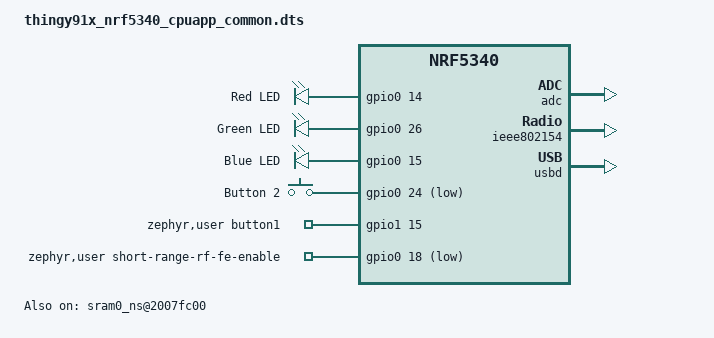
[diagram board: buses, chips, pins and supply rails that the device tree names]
/*
 * Copyright (c) 2024 Nordic Semiconductor
 * SPDX-License-Identifier: LicenseRef-Nordic-5-Clause
 */

#include "thingy91x_nrf5340_cpuapp_common-pinctrl.dtsi"
#include "thingy91x_common.dtsi"
/ {

	chosen {
		zephyr,console = &uart0;
		zephyr,shell-uart = &uart0;
		zephyr,uart-mcumgr = &uart0;
		zephyr,bt-mon-uart = &uart0;
		zephyr,bt-c2h-uart = &uart0;
		zephyr,bt-hci-ipc = &ipc0;
		nordic,802154-spinel-ipc = &ipc0;
		zephyr,ieee802154 = &ieee802154;
	};

	leds {
		compatible = "gpio-leds";
		led0: led_0 {
			gpios = <&gpio0 14 GPIO_ACTIVE_HIGH>;
			label = "Red LED";
		};
		led1: led_1 {
			gpios = <&gpio0 26 GPIO_ACTIVE_HIGH>;
			label = "Green LED";
		};
		led2: led_2 {
			gpios = <&gpio0 15 GPIO_ACTIVE_HIGH>;
			label = "Blue LED";
		};
	};

	buttons {
		compatible = "gpio-keys";
		button0: button_0 {
			gpios = <&gpio0 24 (GPIO_PULL_UP | GPIO_ACTIVE_LOW)>;
			label = "Button 2";
		};
	};

	zephyr,user {
		button1-gpios = <&gpio1 15 (GPIO_PULL_UP | GPIO_OPEN_DRAIN)>;
		short-range-rf-fe-enable-gpios = <&gpio0 18 GPIO_ACTIVE_LOW>;
	};

	gpio_fwd: nrf-gpio-forwarder {
		compatible = "nordic,nrf-gpio-forwarder";
		status = "okay";
		uart {
			gpios = <&gpio0 22 0>, /* nrf7002-coex req-gpios     */
				<&gpio0 23 0>, /* nrf7002-coex status0-gpios */
				<&gpio0 20 0>, /* nrf7002-coex grant-gpios   */
				<&gpio0 6 0>;  /* nrf7002-coex swctrl1-gpios */
		};
	};

	/* These aliases are provided for compatibility with samples */
	aliases {
		led0 = &led0;
		led1 = &led1;
		led2 = &led2;
		sw0 = &button0;
		bootloader-led0 = &led0;
		mcuboot-button0 = &button0;
		mcuboot-led0 = &led0;
		watchdog0 = &wdt0;
	};
};

&adc {
	status = "okay";
};

&gpiote {
	status = "okay";
};

&gpio0 {
	status = "okay";
};

&gpio1 {
	status = "okay";
};

// INT1 not connected

&accelerometer_hp {
	irq-gpios = <&gpio0 17 GPIO_ACTIVE_LOW>; //INT2
};
&magnetometer {
	drdy-gpios = <&gpio1 13 GPIO_ACTIVE_LOW>; //INT3
};
&accelerometer_lp {
	int1-gpios = <&gpio0 28 GPIO_ACTIVE_HIGH>; //INT4
};

&nrf70 {
	iovdd-ctrl-gpios = <&gpio0 4 (GPIO_ACTIVE_HIGH | GPIO_PULL_DOWN)>;
	bucken-gpios = <&gpio0 7 (GPIO_ACTIVE_HIGH | GPIO_PULL_DOWN)>;
	host-irq-gpios = <&gpio0 5 GPIO_ACTIVE_HIGH>;
};

&spi3 {
	cs-gpios = <&gpio0 2 GPIO_ACTIVE_LOW>, // FLASH_CS
		   <&gpio0 11 GPIO_ACTIVE_LOW>, // WIFI_CS
		   <&gpio1 11 GPIO_ACTIVE_LOW>; // BMI270_CS
};

&uart0 {
	status = "disabled";
	compatible = "nordic,nrf-uarte";
	current-speed = <115200>;
	pinctrl-0 = <&uart0_default>;
	pinctrl-1 = <&uart0_sleep>;
	pinctrl-names = "default", "sleep";
};

&uart1 {
	status = "disabled";
	compatible = "nordic,nrf-uarte";
	current-speed = <115200>;
	pinctrl-0 = <&uart1_default>;
	pinctrl-1 = <&uart1_sleep>;
	pinctrl-names = "default", "sleep";
};

/* This is not the layout that's actually used! It's overridden by Partition Manager. */
&flash0 {

	partitions {
		compatible = "fixed-partitions";
		#address-cells = <1>;
		#size-cells = <1>;

		boot_partition: partition@0 {
			label = "mcuboot";
			reg = <0x00000000 0x00010000>;
		};
		slot0_partition: partition@10000 {
			label = "image-0";
			reg = <0x00010000 0x40000>;
		};
		slot0_ns_partition: partition@50000 {
			label = "image-0-nonsecure";
			reg = <0x00050000 0x30000>;
		};
		slot1_partition: partition@80000 {
			label = "image-1";
			reg = <0x00080000 0x40000>;
		};
		slot1_ns_partition: partition@c0000 {
			label = "image-1-nonsecure";
			reg = <0x000c0000 0x30000>;
		};
		/* 0xf0000 to 0xf7fff reserved for TF-M partitions */
		storage_partition: partition@f8000 {
			label = "storage";
			reg = <0x000f8000 0x00008000>;
		};
	};
};

&ieee802154 {
	status = "okay";
};

zephyr_udc0: &usbd {
	compatible = "nordic,nrf-usbd";
	status = "okay";

	cdc_acm_uart0: cdc_acm_uart0 {
		compatible = "zephyr,cdc-acm-uart";
	};
};

/ {

	reserved-memory {
		#address-cells = <1>;
		#size-cells = <1>;
		ranges;

		sram0_image: image@20000000 {
			/* Zephyr image(s) memory */
			reg = <0x20000000 DT_SIZE_K(448)>;
		};

		sram0_s: image_s@20000000 {
			/* Secure image memory */
			reg = <0x20000000 0x40000>;
		};

		sram0_ns: image_ns@20040000 {
			/* Non-Secure image memory */
			reg = <0x20040000 0x30000>;
		};
	};
};

/ {
	sram0_ns@2007fc00 {
		compatible = "zephyr,memory-region", "mmio-sram";
		reg = <0x2007fc00 DT_SIZE_K(1)>;
		zephyr,memory-region = "RetainedMem";
		status = "okay";

		retainedmem {
			compatible = "zephyr,retained-ram";
			status = "okay";
			#address-cells = <1>;
			#size-cells = <1>;

			boot_mode0: boot_mode@0 {
				compatible = "zephyr,retention";
				status = "okay";
				reg = <0x0 0x100>;
				prefix = [08 04];
				checksum = <1>;
			};
		};
	};

	rtt0: rtt_chan0 {
		compatible = "segger,rtt-uart";
		status = "okay";
	};

	chosen {
		zephyr,boot-mode = &boot_mode0;
		zephyr,console = &rtt0;
		zephyr,shell-uart = &rtt0;
		zephyr,uart-mcumgr = &rtt0;
		zephyr,bt-mon-uart = &rtt0;
		zephyr,bt-c2h-uart = &rtt0;
	};
};

/* Include partition configuration file */
#include "nrf5340_shared_sram_planning_conf.dts"
